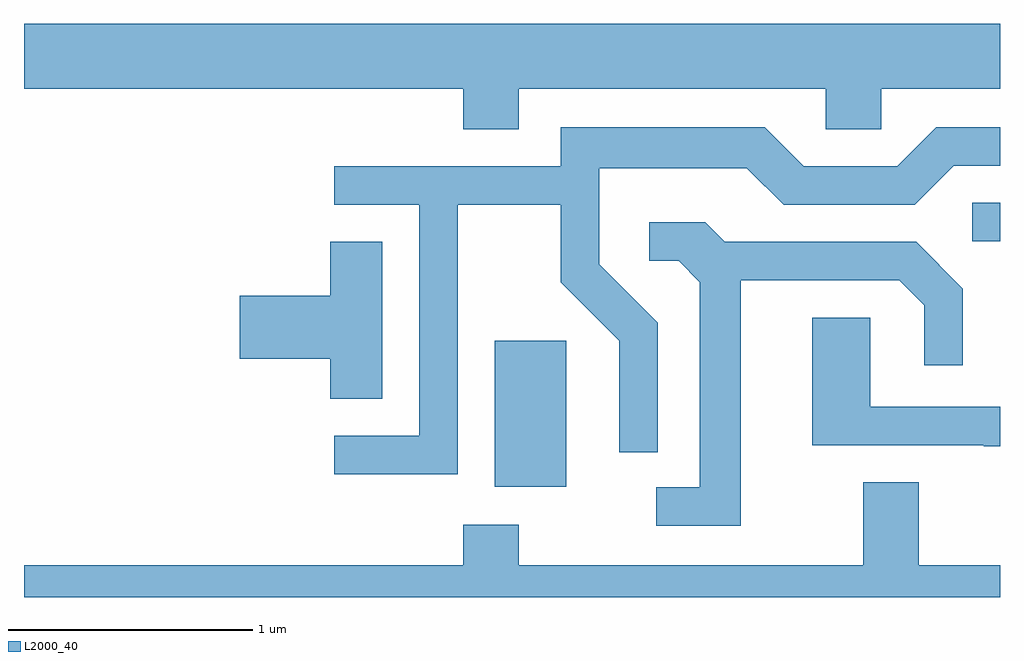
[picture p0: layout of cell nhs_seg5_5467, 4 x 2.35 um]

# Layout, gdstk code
import gdstk
lib = gdstk.Library(unit=1e-6, precision=1e-09)
def R(c, l, rs):  # rectangles x0, y0, x1, y1
    for r in rs: c.add(gdstk.rectangle(r[:2], r[2:], *l))
def P(c, l, *ps):  # polygons
    for p in ps: c.add(gdstk.Polygon(p, *l))
L2000_40 = (2000, 40)

nhs_seg5_5467 = lib.new_cell('nhs_seg5_5467')
R(nhs_seg5_5467, L2000_40, [(349.541,1428.526,349.834,1429.124), (351.498,1429.531,351.611,1429.689)])
P(nhs_seg5_5467, L2000_40, [(349.639,1430.156),(350.896,1430.156),(350.896,1429.991),(351.124,1429.991),(351.124,1430.156),(351.611,1430.156),(351.611,1430.424),(347.611,1430.424),(347.611,1430.156),(349.411,1430.156),(349.411,1429.991),(349.639,1429.991)],
  [(349.389,1429.681),(349.811,1429.681),(349.811,1429.364),(350.051,1429.124),(350.051,1428.668),(350.209,1428.668),(350.209,1429.197),(349.969,1429.437),(349.969,1429.831),(350.574,1429.831),(350.724,1429.681),(351.262,1429.681),(351.422,1429.841),(351.611,1429.841),(351.611,1429.999),(351.349,1429.999),(351.189,1429.839),(350.807,1429.839),(350.647,1429.999),(349.811,1429.999),(349.811,1429.839),(348.883,1429.839),(348.883,1429.681),(349.231,1429.681),(349.231,1428.734),(348.883,1428.734),(348.883,1428.576),(349.389,1428.576)],
  [(350.549,1429.371),(351.199,1429.371),(351.301,1429.269),(351.301,1429.023),(351.459,1429.023),(351.459,1429.337),(351.267,1429.529),(350.482,1429.529),(350.402,1429.609),(350.173,1429.609),(350.173,1429.451),(350.294,1429.451),(350.381,1429.364),(350.381,1428.524),(350.203,1428.524),(350.203,1428.366),(350.549,1428.366)],
  [(349.079,1429.529),(348.866,1429.529),(348.866,1429.309),(348.496,1429.309),(348.496,1429.051),(348.866,1429.051),(348.866,1428.886),(349.079,1428.886)],
  [(351.611,1428.854),(351.079,1428.854),(351.079,1429.219),(350.841,1429.219),(350.841,1428.696),(351.545,1428.696),(351.545,1428.691),(351.611,1428.691)],
  [(351.611,1428.204),(351.279,1428.204),(351.279,1428.544),(351.051,1428.544),(351.051,1428.204),(349.639,1428.204),(349.639,1428.369),(349.411,1428.369),(349.411,1428.204),(347.611,1428.204),(347.611,1428.072),(351.611,1428.072)])

lib.write_gds('nhs_seg5_5467.gds')
